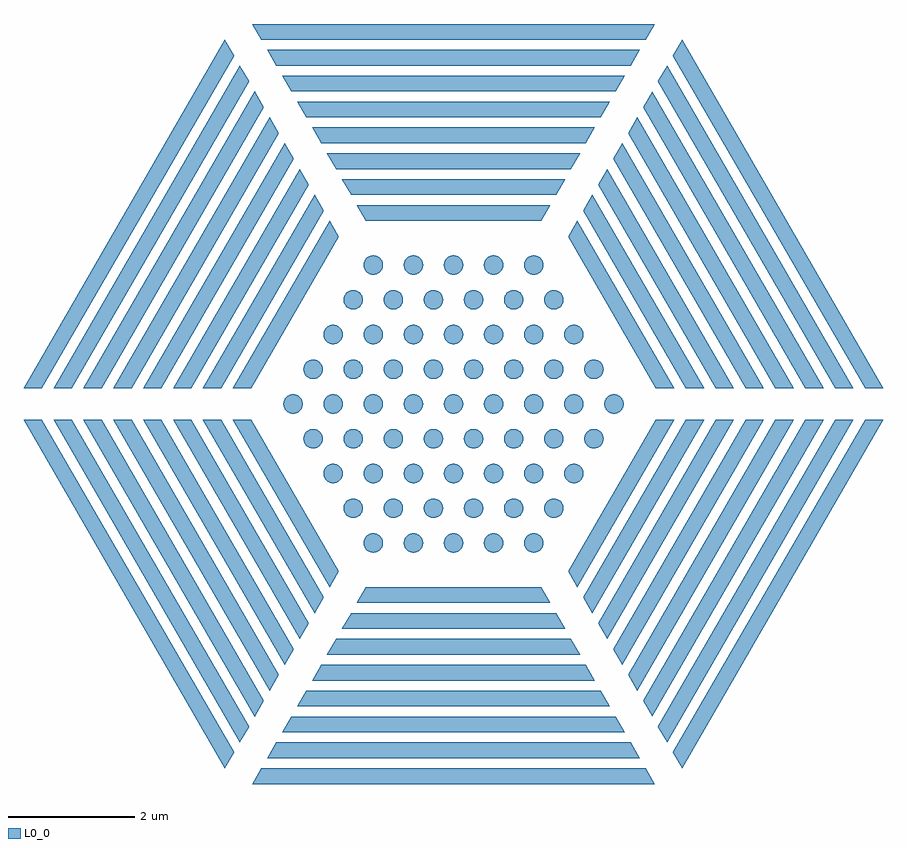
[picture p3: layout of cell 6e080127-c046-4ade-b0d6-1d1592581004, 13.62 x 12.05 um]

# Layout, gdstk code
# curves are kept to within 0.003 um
import gdstk
lib = gdstk.Library(unit=1e-6, precision=1e-09)
def P(c, l, *ps):  # polygons
    for p in ps: c.add(gdstk.Polygon(p, *l))
L0_0 = (0, 0)

c_6e080127_c046_4ade_b0d6_ = lib.new_cell('6e080127-c046-4ade-b0d6-1d1592581004')
P(c_6e080127_c046_4ade_b0d6_, L0_0, [(7.441,150),(7.438,150.032),(7.428,150.063),(7.397,150.108),(7.352,150.139),(7.321,150.149),(7.289,150.153),(7.256,150.149),(7.225,150.139),(7.181,150.108),(7.16,150.083),(7.15,150.063),(7.136,150.011),(7.142,149.957),(7.16,149.917),(7.173,149.9),(7.197,149.878),(7.225,149.861),(7.256,149.851),(7.289,149.847),(7.321,149.851),(7.352,149.861),(7.397,149.892),(7.428,149.937),(7.438,149.968)],
  [(6.805,150),(6.802,150.032),(6.792,150.063),(6.761,150.108),(6.716,150.139),(6.685,150.149),(6.653,150.153),(6.62,150.149),(6.589,150.139),(6.545,150.108),(6.524,150.083),(6.514,150.063),(6.5,150.011),(6.506,149.957),(6.524,149.917),(6.537,149.9),(6.561,149.878),(6.589,149.861),(6.62,149.851),(6.653,149.847),(6.685,149.851),(6.716,149.861),(6.761,149.892),(6.792,149.937),(6.802,149.968)],
  [(7.123,150.551),(7.12,150.583),(7.11,150.614),(7.079,150.659),(7.034,150.69),(6.982,150.703),(6.949,150.702),(6.917,150.694),(6.879,150.673),(6.855,150.651),(6.837,150.624),(6.824,150.594),(6.818,150.562),(6.824,150.508),(6.842,150.468),(6.855,150.451),(6.888,150.422),(6.907,150.412),(6.928,150.404),(6.971,150.398),(7.014,150.404),(7.034,150.412),(7.079,150.443),(7.11,150.487),(7.12,150.518)],
  [(7.759,150.551),(7.756,150.583),(7.746,150.614),(7.715,150.659),(7.67,150.69),(7.618,150.703),(7.585,150.702),(7.553,150.694),(7.515,150.673),(7.491,150.651),(7.473,150.624),(7.46,150.594),(7.454,150.562),(7.46,150.508),(7.478,150.468),(7.491,150.451),(7.524,150.422),(7.543,150.412),(7.564,150.404),(7.607,150.398),(7.65,150.404),(7.67,150.412),(7.715,150.443),(7.746,150.487),(7.756,150.518)],
  [(8.077,150),(8.074,150.032),(8.064,150.063),(8.033,150.108),(7.988,150.139),(7.957,150.149),(7.925,150.153),(7.892,150.149),(7.861,150.139),(7.817,150.108),(7.796,150.083),(7.786,150.063),(7.772,150.011),(7.778,149.957),(7.796,149.917),(7.809,149.9),(7.833,149.878),(7.861,149.861),(7.892,149.851),(7.925,149.847),(7.957,149.851),(7.988,149.861),(8.033,149.892),(8.064,149.937),(8.074,149.968)],
  [(7.759,149.449),(7.756,149.482),(7.746,149.513),(7.715,149.557),(7.67,149.588),(7.65,149.596),(7.607,149.602),(7.553,149.592),(7.507,149.565),(7.478,149.532),(7.468,149.513),(7.454,149.46),(7.46,149.406),(7.491,149.349),(7.515,149.327),(7.543,149.31),(7.596,149.297),(7.628,149.298),(7.66,149.306),(7.68,149.315),(7.715,149.341),(7.746,149.386),(7.756,149.417)],
  [(7.123,149.449),(7.12,149.482),(7.11,149.513),(7.079,149.557),(7.034,149.588),(7.014,149.596),(6.971,149.602),(6.917,149.592),(6.871,149.565),(6.842,149.532),(6.832,149.513),(6.818,149.46),(6.824,149.406),(6.855,149.349),(6.879,149.327),(6.907,149.31),(6.96,149.297),(6.992,149.298),(7.024,149.306),(7.044,149.315),(7.079,149.341),(7.11,149.386),(7.12,149.417)],
  [(6.169,150),(6.166,150.032),(6.156,150.063),(6.125,150.108),(6.08,150.139),(6.049,150.149),(6.017,150.153),(5.984,150.149),(5.953,150.139),(5.909,150.108),(5.888,150.083),(5.878,150.063),(5.864,150.011),(5.87,149.957),(5.888,149.917),(5.901,149.9),(5.925,149.878),(5.953,149.861),(5.984,149.851),(6.017,149.847),(6.049,149.851),(6.08,149.861),(6.125,149.892),(6.156,149.937),(6.166,149.968)],
  [(6.805,151.102),(6.802,151.134),(6.792,151.165),(6.761,151.21),(6.726,151.236),(6.706,151.245),(6.674,151.253),(6.642,151.254),(6.599,151.245),(6.58,151.236),(6.537,151.202),(6.506,151.145),(6.5,151.091),(6.506,151.059),(6.519,151.028),(6.537,151.002),(6.561,150.979),(6.62,150.952),(6.664,150.949),(6.716,150.963),(6.761,150.994),(6.792,151.038),(6.802,151.069)],
  [(8.077,151.102),(8.074,151.134),(8.064,151.165),(8.033,151.21),(7.998,151.236),(7.978,151.245),(7.946,151.253),(7.914,151.254),(7.871,151.245),(7.852,151.236),(7.809,151.202),(7.778,151.145),(7.772,151.091),(7.778,151.059),(7.791,151.028),(7.809,151.002),(7.833,150.979),(7.892,150.952),(7.936,150.949),(7.988,150.963),(8.033,150.994),(8.064,151.038),(8.074,151.069)],
  [(8.713,150),(8.71,150.032),(8.7,150.063),(8.669,150.108),(8.624,150.139),(8.593,150.149),(8.561,150.153),(8.528,150.149),(8.497,150.139),(8.453,150.108),(8.432,150.083),(8.422,150.063),(8.408,150.011),(8.414,149.957),(8.432,149.917),(8.445,149.9),(8.469,149.878),(8.497,149.861),(8.528,149.851),(8.561,149.847),(8.593,149.851),(8.624,149.861),(8.669,149.892),(8.7,149.937),(8.71,149.968)],
  [(8.077,148.898),(8.074,148.931),(8.064,148.962),(8.033,149.006),(7.988,149.037),(7.936,149.051),(7.892,149.048),(7.833,149.021),(7.809,148.998),(7.791,148.972),(7.778,148.941),(7.772,148.909),(7.778,148.855),(7.809,148.798),(7.852,148.764),(7.871,148.755),(7.914,148.746),(7.946,148.747),(7.978,148.755),(7.998,148.764),(8.033,148.79),(8.064,148.835),(8.074,148.866)],
  [(6.805,148.898),(6.802,148.931),(6.792,148.962),(6.761,149.006),(6.716,149.037),(6.664,149.051),(6.62,149.048),(6.561,149.021),(6.537,148.998),(6.519,148.972),(6.506,148.941),(6.5,148.909),(6.506,148.855),(6.537,148.798),(6.58,148.764),(6.599,148.755),(6.642,148.746),(6.674,148.747),(6.706,148.755),(6.726,148.764),(6.761,148.79),(6.792,148.835),(6.802,148.866)],
  [(6.487,150.551),(6.484,150.583),(6.474,150.614),(6.443,150.659),(6.398,150.69),(6.346,150.703),(6.313,150.702),(6.281,150.694),(6.243,150.673),(6.219,150.651),(6.201,150.624),(6.188,150.594),(6.182,150.562),(6.188,150.508),(6.206,150.468),(6.219,150.451),(6.252,150.422),(6.271,150.412),(6.292,150.404),(6.335,150.398),(6.378,150.404),(6.398,150.412),(6.443,150.443),(6.474,150.487),(6.484,150.518)],
  [(7.441,151.102),(7.438,151.134),(7.428,151.165),(7.397,151.21),(7.362,151.236),(7.342,151.245),(7.31,151.253),(7.278,151.254),(7.235,151.245),(7.216,151.236),(7.173,151.202),(7.142,151.145),(7.136,151.091),(7.142,151.059),(7.155,151.028),(7.173,151.002),(7.197,150.979),(7.256,150.952),(7.3,150.949),(7.352,150.963),(7.397,150.994),(7.428,151.038),(7.438,151.069)],
  [(8.395,150.551),(8.392,150.583),(8.382,150.614),(8.351,150.659),(8.306,150.69),(8.254,150.703),(8.221,150.702),(8.189,150.694),(8.151,150.673),(8.127,150.651),(8.109,150.624),(8.096,150.594),(8.09,150.562),(8.096,150.508),(8.114,150.468),(8.127,150.451),(8.16,150.422),(8.179,150.412),(8.2,150.404),(8.243,150.398),(8.286,150.404),(8.306,150.412),(8.351,150.443),(8.382,150.487),(8.392,150.518)],
  [(8.395,149.449),(8.392,149.482),(8.382,149.513),(8.351,149.557),(8.306,149.588),(8.286,149.596),(8.243,149.602),(8.189,149.592),(8.143,149.565),(8.114,149.532),(8.104,149.513),(8.09,149.46),(8.096,149.406),(8.127,149.349),(8.151,149.327),(8.179,149.31),(8.232,149.297),(8.264,149.298),(8.296,149.306),(8.316,149.315),(8.351,149.341),(8.382,149.386),(8.392,149.417)],
  [(7.441,148.898),(7.438,148.931),(7.428,148.962),(7.397,149.006),(7.352,149.037),(7.3,149.051),(7.256,149.048),(7.197,149.021),(7.173,148.998),(7.155,148.972),(7.142,148.941),(7.136,148.909),(7.142,148.855),(7.173,148.798),(7.216,148.764),(7.235,148.755),(7.278,148.746),(7.31,148.747),(7.342,148.755),(7.362,148.764),(7.397,148.79),(7.428,148.835),(7.438,148.866)],
  [(6.487,149.449),(6.484,149.482),(6.474,149.513),(6.443,149.557),(6.398,149.588),(6.378,149.596),(6.335,149.602),(6.281,149.592),(6.235,149.565),(6.206,149.532),(6.196,149.513),(6.182,149.46),(6.188,149.406),(6.219,149.349),(6.243,149.327),(6.271,149.31),(6.324,149.297),(6.356,149.298),(6.388,149.306),(6.408,149.315),(6.443,149.341),(6.474,149.386),(6.484,149.417)],
  [(5.533,150),(5.53,150.032),(5.52,150.063),(5.489,150.108),(5.444,150.139),(5.413,150.149),(5.381,150.153),(5.348,150.149),(5.317,150.139),(5.273,150.108),(5.252,150.083),(5.242,150.063),(5.228,150.011),(5.234,149.957),(5.252,149.917),(5.265,149.9),(5.289,149.878),(5.317,149.861),(5.348,149.851),(5.381,149.847),(5.413,149.851),(5.444,149.861),(5.489,149.892),(5.52,149.937),(5.53,149.968)],
  [(6.487,151.652),(6.484,151.685),(6.474,151.716),(6.443,151.76),(6.398,151.791),(6.346,151.805),(6.302,151.802),(6.243,151.775),(6.219,151.752),(6.201,151.726),(6.188,151.695),(6.182,151.663),(6.188,151.609),(6.219,151.552),(6.262,151.518),(6.281,151.509),(6.324,151.5),(6.356,151.501),(6.388,151.509),(6.408,151.518),(6.443,151.544),(6.474,151.589),(6.484,151.62)],
  [(8.395,151.652),(8.392,151.685),(8.382,151.716),(8.351,151.76),(8.306,151.791),(8.254,151.805),(8.21,151.802),(8.151,151.775),(8.127,151.752),(8.109,151.726),(8.096,151.695),(8.09,151.663),(8.096,151.609),(8.127,151.552),(8.17,151.518),(8.189,151.509),(8.232,151.5),(8.264,151.501),(8.296,151.509),(8.316,151.518),(8.351,151.544),(8.382,151.589),(8.392,151.62)],
  [(9.349,150),(9.346,150.032),(9.336,150.063),(9.305,150.108),(9.26,150.139),(9.229,150.149),(9.197,150.153),(9.164,150.149),(9.133,150.139),(9.089,150.108),(9.068,150.083),(9.058,150.063),(9.044,150.011),(9.05,149.957),(9.068,149.917),(9.081,149.9),(9.105,149.878),(9.133,149.861),(9.164,149.851),(9.197,149.847),(9.229,149.851),(9.26,149.861),(9.305,149.892),(9.336,149.937),(9.346,149.968)],
  [(8.395,148.348),(8.392,148.38),(8.382,148.411),(8.351,148.456),(8.316,148.482),(8.286,148.494),(8.254,148.5),(8.221,148.499),(8.189,148.491),(8.151,148.47),(8.127,148.448),(8.109,148.421),(8.096,148.391),(8.09,148.359),(8.096,148.305),(8.109,148.274),(8.127,148.248),(8.151,148.225),(8.179,148.209),(8.232,148.195),(8.286,148.201),(8.343,148.232),(8.365,148.256),(8.382,148.284),(8.392,148.315)],
  [(6.487,148.348),(6.484,148.38),(6.474,148.411),(6.443,148.456),(6.408,148.482),(6.378,148.494),(6.346,148.5),(6.313,148.499),(6.281,148.491),(6.243,148.47),(6.219,148.448),(6.201,148.421),(6.188,148.391),(6.182,148.359),(6.188,148.305),(6.201,148.274),(6.219,148.248),(6.243,148.225),(6.271,148.209),(6.324,148.195),(6.378,148.201),(6.435,148.232),(6.457,148.256),(6.474,148.284),(6.484,148.315)],
  [(5.851,150.551),(5.848,150.583),(5.838,150.614),(5.807,150.659),(5.762,150.69),(5.71,150.703),(5.677,150.702),(5.645,150.694),(5.607,150.673),(5.583,150.651),(5.565,150.624),(5.552,150.594),(5.546,150.562),(5.552,150.508),(5.57,150.468),(5.583,150.451),(5.616,150.422),(5.635,150.412),(5.656,150.404),(5.699,150.398),(5.742,150.404),(5.762,150.412),(5.807,150.443),(5.838,150.487),(5.848,150.518)],
  [(7.123,151.652),(7.12,151.685),(7.11,151.716),(7.079,151.76),(7.034,151.791),(6.982,151.805),(6.938,151.802),(6.879,151.775),(6.855,151.752),(6.837,151.726),(6.824,151.695),(6.818,151.663),(6.824,151.609),(6.855,151.552),(6.898,151.518),(6.917,151.509),(6.96,151.5),(6.992,151.501),(7.024,151.509),(7.044,151.518),(7.079,151.544),(7.11,151.589),(7.12,151.62)],
  [(8.713,151.102),(8.71,151.134),(8.7,151.165),(8.669,151.21),(8.634,151.236),(8.614,151.245),(8.582,151.253),(8.55,151.254),(8.507,151.245),(8.488,151.236),(8.445,151.202),(8.414,151.145),(8.408,151.091),(8.414,151.059),(8.427,151.028),(8.445,151.002),(8.469,150.979),(8.528,150.952),(8.572,150.949),(8.624,150.963),(8.669,150.994),(8.7,151.038),(8.71,151.069)],
  [(9.031,149.449),(9.028,149.482),(9.018,149.513),(8.987,149.557),(8.942,149.588),(8.922,149.596),(8.879,149.602),(8.825,149.592),(8.779,149.565),(8.75,149.532),(8.74,149.513),(8.726,149.46),(8.732,149.406),(8.763,149.349),(8.787,149.327),(8.815,149.31),(8.868,149.297),(8.9,149.298),(8.932,149.306),(8.952,149.315),(8.987,149.341),(9.018,149.386),(9.028,149.417)],
  [(7.759,148.348),(7.756,148.38),(7.746,148.411),(7.715,148.456),(7.68,148.482),(7.65,148.494),(7.618,148.5),(7.585,148.499),(7.553,148.491),(7.515,148.47),(7.491,148.448),(7.473,148.421),(7.46,148.391),(7.454,148.359),(7.46,148.305),(7.473,148.274),(7.491,148.248),(7.515,148.225),(7.543,148.209),(7.596,148.195),(7.65,148.201),(7.707,148.232),(7.729,148.256),(7.746,148.284),(7.756,148.315)],
  [(6.169,148.898),(6.166,148.931),(6.156,148.962),(6.125,149.006),(6.08,149.037),(6.028,149.051),(5.984,149.048),(5.925,149.021),(5.901,148.998),(5.883,148.972),(5.87,148.941),(5.864,148.909),(5.87,148.855),(5.901,148.798),(5.944,148.764),(5.963,148.755),(6.006,148.746),(6.038,148.747),(6.07,148.755),(6.09,148.764),(6.125,148.79),(6.156,148.835),(6.166,148.866)],
  [(6.169,151.102),(6.166,151.134),(6.156,151.165),(6.125,151.21),(6.09,151.236),(6.07,151.245),(6.038,151.253),(6.006,151.254),(5.963,151.245),(5.944,151.236),(5.901,151.202),(5.87,151.145),(5.864,151.091),(5.87,151.059),(5.883,151.028),(5.901,151.002),(5.925,150.979),(5.984,150.952),(6.028,150.949),(6.08,150.963),(6.125,150.994),(6.156,151.038),(6.166,151.069)],
  [(7.759,151.652),(7.756,151.685),(7.746,151.716),(7.715,151.76),(7.67,151.791),(7.618,151.805),(7.574,151.802),(7.515,151.775),(7.491,151.752),(7.473,151.726),(7.46,151.695),(7.454,151.663),(7.46,151.609),(7.491,151.552),(7.534,151.518),(7.553,151.509),(7.596,151.5),(7.628,151.501),(7.66,151.509),(7.68,151.518),(7.715,151.544),(7.746,151.589),(7.756,151.62)],
  [(9.031,150.551),(9.028,150.583),(9.018,150.614),(8.987,150.659),(8.942,150.69),(8.89,150.703),(8.857,150.702),(8.825,150.694),(8.787,150.673),(8.763,150.651),(8.745,150.624),(8.732,150.594),(8.726,150.562),(8.732,150.508),(8.75,150.468),(8.763,150.451),(8.796,150.422),(8.815,150.412),(8.836,150.404),(8.879,150.398),(8.922,150.404),(8.942,150.412),(8.987,150.443),(9.018,150.487),(9.028,150.518)],
  [(8.713,148.898),(8.71,148.931),(8.7,148.962),(8.669,149.006),(8.624,149.037),(8.572,149.051),(8.528,149.048),(8.469,149.021),(8.445,148.998),(8.427,148.972),(8.414,148.941),(8.408,148.909),(8.414,148.855),(8.445,148.798),(8.488,148.764),(8.507,148.755),(8.55,148.746),(8.582,148.747),(8.614,148.755),(8.634,148.764),(8.669,148.79),(8.7,148.835),(8.71,148.866)],
  [(7.123,148.348),(7.12,148.38),(7.11,148.411),(7.079,148.456),(7.044,148.482),(7.014,148.494),(6.982,148.5),(6.949,148.499),(6.917,148.491),(6.879,148.47),(6.855,148.448),(6.837,148.421),(6.824,148.391),(6.818,148.359),(6.824,148.305),(6.837,148.274),(6.855,148.248),(6.879,148.225),(6.907,148.209),(6.96,148.195),(7.014,148.201),(7.071,148.232),(7.093,148.256),(7.11,148.284),(7.12,148.315)],
  [(5.851,149.449),(5.848,149.482),(5.838,149.513),(5.807,149.557),(5.762,149.588),(5.742,149.596),(5.699,149.602),(5.645,149.592),(5.599,149.565),(5.57,149.532),(5.56,149.513),(5.546,149.46),(5.552,149.406),(5.583,149.349),(5.607,149.327),(5.635,149.31),(5.688,149.297),(5.72,149.298),(5.752,149.306),(5.772,149.315),(5.807,149.341),(5.838,149.386),(5.848,149.417)],
  [(4.897,150),(4.894,150.032),(4.884,150.063),(4.853,150.108),(4.808,150.139),(4.777,150.149),(4.745,150.153),(4.712,150.149),(4.681,150.139),(4.637,150.108),(4.616,150.083),(4.606,150.063),(4.592,150.011),(4.598,149.957),(4.616,149.917),(4.629,149.9),(4.653,149.878),(4.681,149.861),(4.712,149.851),(4.745,149.847),(4.777,149.851),(4.808,149.861),(4.853,149.892),(4.884,149.937),(4.894,149.968)],
  [(6.169,152.203),(6.166,152.236),(6.156,152.267),(6.125,152.311),(6.08,152.342),(6.06,152.35),(6.017,152.356),(5.963,152.346),(5.917,152.319),(5.888,152.286),(5.878,152.267),(5.864,152.214),(5.87,152.16),(5.901,152.103),(5.925,152.081),(5.953,152.064),(6.006,152.051),(6.038,152.052),(6.07,152.06),(6.09,152.069),(6.125,152.095),(6.156,152.14),(6.166,152.171)],
  [(8.713,152.203),(8.71,152.236),(8.7,152.267),(8.669,152.311),(8.624,152.342),(8.604,152.35),(8.561,152.356),(8.507,152.346),(8.461,152.319),(8.432,152.286),(8.422,152.267),(8.408,152.214),(8.414,152.16),(8.445,152.103),(8.469,152.081),(8.497,152.064),(8.55,152.051),(8.582,152.052),(8.614,152.06),(8.634,152.069),(8.669,152.095),(8.7,152.14),(8.71,152.171)],
  [(9.985,150),(9.982,150.032),(9.972,150.063),(9.941,150.108),(9.896,150.139),(9.865,150.149),(9.833,150.153),(9.8,150.149),(9.769,150.139),(9.725,150.108),(9.704,150.083),(9.694,150.063),(9.68,150.011),(9.686,149.957),(9.704,149.917),(9.717,149.9),(9.741,149.878),(9.769,149.861),(9.8,149.851),(9.833,149.847),(9.865,149.851),(9.896,149.861),(9.941,149.892),(9.972,149.937),(9.982,149.968)],
  [(8.713,147.797),(8.71,147.829),(8.7,147.86),(8.669,147.905),(8.624,147.936),(8.572,147.949),(8.539,147.948),(8.507,147.94),(8.469,147.919),(8.445,147.897),(8.427,147.87),(8.414,147.84),(8.408,147.808),(8.414,147.754),(8.432,147.714),(8.445,147.697),(8.478,147.668),(8.497,147.658),(8.518,147.65),(8.561,147.644),(8.604,147.65),(8.624,147.658),(8.669,147.689),(8.7,147.733),(8.71,147.764)],
  [(6.169,147.797),(6.166,147.829),(6.156,147.86),(6.125,147.905),(6.08,147.936),(6.028,147.949),(5.995,147.948),(5.963,147.94),(5.925,147.919),(5.901,147.897),(5.883,147.87),(5.87,147.84),(5.864,147.808),(5.87,147.754),(5.888,147.714),(5.901,147.697),(5.934,147.668),(5.953,147.658),(5.974,147.65),(6.017,147.644),(6.06,147.65),(6.08,147.658),(6.125,147.689),(6.156,147.733),(6.166,147.764)],
  [(5.215,150.551),(5.212,150.583),(5.202,150.614),(5.171,150.659),(5.126,150.69),(5.074,150.703),(5.041,150.702),(5.009,150.694),(4.971,150.673),(4.947,150.651),(4.929,150.624),(4.916,150.594),(4.91,150.562),(4.916,150.508),(4.934,150.468),(4.947,150.451),(4.98,150.422),(4.999,150.412),(5.02,150.404),(5.063,150.398),(5.106,150.404),(5.126,150.412),(5.171,150.443),(5.202,150.487),(5.212,150.518)],
  [(6.805,152.203),(6.802,152.236),(6.792,152.267),(6.761,152.311),(6.716,152.342),(6.696,152.35),(6.653,152.356),(6.599,152.346),(6.553,152.319),(6.524,152.286),(6.514,152.267),(6.5,152.214),(6.506,152.16),(6.537,152.103),(6.561,152.081),(6.589,152.064),(6.642,152.051),(6.674,152.052),(6.706,152.06),(6.726,152.069),(6.761,152.095),(6.792,152.14),(6.802,152.171)],
  [(9.031,151.652),(9.028,151.685),(9.018,151.716),(8.987,151.76),(8.942,151.791),(8.89,151.805),(8.846,151.802),(8.787,151.775),(8.763,151.752),(8.745,151.726),(8.732,151.695),(8.726,151.663),(8.732,151.609),(8.763,151.552),(8.806,151.518),(8.825,151.509),(8.868,151.5),(8.9,151.501),(8.932,151.509),(8.952,151.518),(8.987,151.544),(9.018,151.589),(9.028,151.62)],
  [(9.667,149.449),(9.664,149.482),(9.654,149.513),(9.623,149.557),(9.578,149.588),(9.558,149.596),(9.515,149.602),(9.461,149.592),(9.415,149.565),(9.386,149.532),(9.376,149.513),(9.362,149.46),(9.368,149.406),(9.399,149.349),(9.423,149.327),(9.451,149.31),(9.504,149.297),(9.536,149.298),(9.568,149.306),(9.588,149.315),(9.623,149.341),(9.654,149.386),(9.664,149.417)],
  [(8.077,147.797),(8.074,147.829),(8.064,147.86),(8.033,147.905),(7.988,147.936),(7.936,147.949),(7.903,147.948),(7.871,147.94),(7.833,147.919),(7.809,147.897),(7.791,147.87),(7.778,147.84),(7.772,147.808),(7.778,147.754),(7.796,147.714),(7.809,147.697),(7.842,147.668),(7.861,147.658),(7.882,147.65),(7.925,147.644),(7.968,147.65),(7.988,147.658),(8.033,147.689),(8.064,147.733),(8.074,147.764)],
  [(5.851,148.348),(5.848,148.38),(5.838,148.411),(5.807,148.456),(5.772,148.482),(5.742,148.494),(5.71,148.5),(5.677,148.499),(5.645,148.491),(5.607,148.47),(5.583,148.448),(5.565,148.421),(5.552,148.391),(5.546,148.359),(5.552,148.305),(5.565,148.274),(5.583,148.248),(5.607,148.225),(5.635,148.209),(5.688,148.195),(5.742,148.201),(5.799,148.232),(5.821,148.256),(5.838,148.284),(5.848,148.315)],
  [(5.533,151.102),(5.53,151.134),(5.52,151.165),(5.489,151.21),(5.454,151.236),(5.434,151.245),(5.402,151.253),(5.37,151.254),(5.327,151.245),(5.308,151.236),(5.265,151.202),(5.234,151.145),(5.228,151.091),(5.234,151.059),(5.247,151.028),(5.265,151.002),(5.289,150.979),(5.348,150.952),(5.392,150.949),(5.444,150.963),(5.489,150.994),(5.52,151.038),(5.53,151.069)],
  [(7.441,152.203),(7.438,152.236),(7.428,152.267),(7.397,152.311),(7.352,152.342),(7.332,152.35),(7.289,152.356),(7.235,152.346),(7.189,152.319),(7.16,152.286),(7.15,152.267),(7.136,152.214),(7.142,152.16),(7.173,152.103),(7.197,152.081),(7.225,152.064),(7.278,152.051),(7.31,152.052),(7.342,152.06),(7.362,152.069),(7.397,152.095),(7.428,152.14),(7.438,152.171)],
  [(9.349,151.102),(9.346,151.134),(9.336,151.165),(9.305,151.21),(9.27,151.236),(9.25,151.245),(9.218,151.253),(9.186,151.254),(9.143,151.245),(9.124,151.236),(9.081,151.202),(9.05,151.145),(9.044,151.091),(9.05,151.059),(9.063,151.028),(9.081,151.002),(9.105,150.979),(9.164,150.952),(9.208,150.949),(9.26,150.963),(9.305,150.994),(9.336,151.038),(9.346,151.069)],
  [(9.349,148.898),(9.346,148.931),(9.336,148.962),(9.305,149.006),(9.26,149.037),(9.208,149.051),(9.164,149.048),(9.105,149.021),(9.081,148.998),(9.063,148.972),(9.05,148.941),(9.044,148.909),(9.05,148.855),(9.081,148.798),(9.124,148.764),(9.143,148.755),(9.186,148.746),(9.218,148.747),(9.25,148.755),(9.27,148.764),(9.305,148.79),(9.336,148.835),(9.346,148.866)],
  [(7.441,147.797),(7.438,147.829),(7.428,147.86),(7.397,147.905),(7.352,147.936),(7.3,147.949),(7.267,147.948),(7.235,147.94),(7.197,147.919),(7.173,147.897),(7.155,147.87),(7.142,147.84),(7.136,147.808),(7.142,147.754),(7.16,147.714),(7.173,147.697),(7.206,147.668),(7.225,147.658),(7.246,147.65),(7.289,147.644),(7.332,147.65),(7.352,147.658),(7.397,147.689),(7.428,147.733),(7.438,147.764)],
  [(5.533,148.898),(5.53,148.931),(5.52,148.962),(5.489,149.006),(5.444,149.037),(5.392,149.051),(5.348,149.048),(5.289,149.021),(5.265,148.998),(5.247,148.972),(5.234,148.941),(5.228,148.909),(5.234,148.855),(5.265,148.798),(5.308,148.764),(5.327,148.755),(5.37,148.746),(5.402,148.747),(5.434,148.755),(5.454,148.764),(5.489,148.79),(5.52,148.835),(5.53,148.866)],
  [(5.851,151.652),(5.848,151.685),(5.838,151.716),(5.807,151.76),(5.762,151.791),(5.71,151.805),(5.666,151.802),(5.607,151.775),(5.583,151.752),(5.565,151.726),(5.552,151.695),(5.546,151.663),(5.552,151.609),(5.583,151.552),(5.626,151.518),(5.645,151.509),(5.688,151.5),(5.72,151.501),(5.752,151.509),(5.772,151.518),(5.807,151.544),(5.838,151.589),(5.848,151.62)],
  [(8.077,152.203),(8.074,152.236),(8.064,152.267),(8.033,152.311),(7.988,152.342),(7.968,152.35),(7.925,152.356),(7.871,152.346),(7.825,152.319),(7.796,152.286),(7.786,152.267),(7.772,152.214),(7.778,152.16),(7.809,152.103),(7.833,152.081),(7.861,152.064),(7.914,152.051),(7.946,152.052),(7.978,152.06),(7.998,152.069),(8.033,152.095),(8.064,152.14),(8.074,152.171)],
  [(9.667,150.551),(9.664,150.583),(9.654,150.614),(9.623,150.659),(9.578,150.69),(9.526,150.703),(9.493,150.702),(9.461,150.694),(9.423,150.673),(9.399,150.651),(9.381,150.624),(9.368,150.594),(9.362,150.562),(9.368,150.508),(9.386,150.468),(9.399,150.451),(9.432,150.422),(9.451,150.412),(9.472,150.404),(9.515,150.398),(9.558,150.404),(9.578,150.412),(9.623,150.443),(9.654,150.487),(9.664,150.518)],
  [(9.031,148.348),(9.028,148.38),(9.018,148.411),(8.987,148.456),(8.952,148.482),(8.922,148.494),(8.89,148.5),(8.857,148.499),(8.825,148.491),(8.787,148.47),(8.763,148.448),(8.745,148.421),(8.732,148.391),(8.726,148.359),(8.732,148.305),(8.745,148.274),(8.763,148.248),(8.787,148.225),(8.815,148.209),(8.868,148.195),(8.922,148.201),(8.979,148.232),(9.001,148.256),(9.018,148.284),(9.028,148.315)],
  [(6.805,147.797),(6.802,147.829),(6.792,147.86),(6.761,147.905),(6.716,147.936),(6.664,147.949),(6.631,147.948),(6.599,147.94),(6.561,147.919),(6.537,147.897),(6.519,147.87),(6.506,147.84),(6.5,147.808),(6.506,147.754),(6.524,147.714),(6.537,147.697),(6.57,147.668),(6.589,147.658),(6.61,147.65),(6.653,147.644),(6.696,147.65),(6.716,147.658),(6.761,147.689),(6.792,147.733),(6.802,147.764)],
  [(5.215,149.449),(5.212,149.482),(5.202,149.513),(5.171,149.557),(5.126,149.588),(5.106,149.596),(5.063,149.602),(5.009,149.592),(4.963,149.565),(4.934,149.532),(4.924,149.513),(4.91,149.46),(4.916,149.406),(4.947,149.349),(4.971,149.327),(4.999,149.31),(5.052,149.297),(5.084,149.298),(5.116,149.306),(5.136,149.315),(5.171,149.341),(5.202,149.386),(5.212,149.417)],
  [(8.821,153.154),(5.756,153.154),(5.901,152.904),(8.677,152.904)],
  [(9.254,152.904),(9.11,152.654),(10.498,150.25),(10.787,150.25)],
  [(5.468,152.654),(5.323,152.904),(3.79,150.25),(4.079,150.25)],
  [(10.787,149.75),(10.498,149.75),(9.11,147.346),(9.254,147.096)],
  [(5.468,147.346),(4.079,149.75),(3.79,149.75),(5.323,147.096)],
  [(8.677,147.096),(5.901,147.096),(5.756,146.846),(8.821,146.846)],
  [(9.058,153.564),(5.52,153.564),(5.664,153.314),(8.914,153.314)],
  [(9.491,153.314),(9.346,153.064),(10.972,150.25),(11.26,150.25)],
  [(5.231,153.064),(5.087,153.314),(3.317,150.25),(3.606,150.25)],
  [(11.26,149.75),(10.972,149.75),(9.346,146.936),(9.491,146.686)],
  [(5.231,146.936),(3.606,149.75),(3.317,149.75),(5.087,146.686)],
  [(8.914,146.686),(5.664,146.686),(5.52,146.436),(9.058,146.436)],
  [(9.295,153.974),(5.283,153.974),(5.427,153.724),(9.15,153.724)],
  [(9.728,153.724),(9.583,153.474),(11.445,150.25),(11.734,150.25)],
  [(4.994,153.474),(4.85,153.724),(2.844,150.25),(3.132,150.25)],
  [(11.734,149.75),(11.445,149.75),(9.583,146.526),(9.728,146.276)],
  [(4.994,146.526),(3.132,149.75),(2.844,149.75),(4.85,146.276)],
  [(9.15,146.276),(5.427,146.276),(5.283,146.026),(9.295,146.026)],
  [(9.531,154.384),(5.046,154.384),(5.19,154.134),(9.387,154.134)],
  [(9.964,154.134),(9.82,153.884),(11.919,150.25),(12.207,150.25)],
  [(4.758,153.884),(4.613,154.134),(2.37,150.25),(2.659,150.25)],
  [(12.207,149.75),(11.919,149.75),(9.82,146.116),(9.964,145.866)],
  [(4.758,146.116),(2.659,149.75),(2.37,149.75),(4.613,145.866)],
  [(9.387,145.866),(5.19,145.866),(5.046,145.616),(9.531,145.616)],
  [(9.768,154.794),(4.809,154.794),(4.954,154.544),(9.624,154.544)],
  [(10.201,154.544),(10.057,154.294),(12.392,150.25),(12.681,150.25)],
  [(4.521,154.294),(4.377,154.544),(1.897,150.25),(2.185,150.25)],
  [(12.681,149.75),(12.392,149.75),(10.057,145.706),(10.201,145.456)],
  [(4.521,145.706),(2.185,149.75),(1.897,149.75),(4.377,145.456)],
  [(9.624,145.456),(4.954,145.456),(4.809,145.206),(9.768,145.206)],
  [(10.005,155.204),(4.573,155.204),(4.717,154.954),(9.861,154.954)],
  [(4.284,154.704),(4.14,154.954),(1.423,150.25),(1.712,150.25)],
  [(10.438,154.953),(10.294,154.704),(12.866,150.25),(13.154,150.25)],
  [(13.154,149.75),(12.866,149.75),(10.294,145.296),(10.438,145.047)],
  [(4.284,145.296),(1.712,149.75),(1.423,149.75),(4.14,145.046)],
  [(9.861,145.046),(4.717,145.046),(4.573,144.796),(10.005,144.796)],
  [(10.242,155.614),(4.336,155.614),(4.48,155.364),(10.097,155.364)],
  [(10.675,155.364),(10.53,155.114),(13.339,150.25),(13.628,150.25)],
  [(4.047,155.114),(3.903,155.364),(0.95,150.25),(1.238,150.25)],
  [(13.628,149.75),(13.339,149.75),(10.53,144.886),(10.675,144.636)],
  [(4.047,144.886),(1.238,149.75),(0.95,149.75),(3.903,144.636)],
  [(10.097,144.636),(4.48,144.636),(4.336,144.386),(10.242,144.386)],
  [(10.479,156.024),(4.099,156.024),(4.244,155.774),(10.334,155.774)],
  [(10.911,155.774),(10.767,155.524),(13.812,150.25),(14.101,150.25)],
  [(3.811,155.524),(3.666,155.774),(0.476,150.25),(0.765,150.25)],
  [(14.101,149.75),(13.812,149.75),(10.767,144.476),(10.911,144.226)],
  [(3.811,144.476),(0.765,149.75),(0.476,149.75),(3.666,144.226)],
  [(10.334,144.226),(4.244,144.226),(4.099,143.976),(10.479,143.976)])

lib.write_gds('6e080127-c046-4ade-b0d6-1d1592581004.gds')
